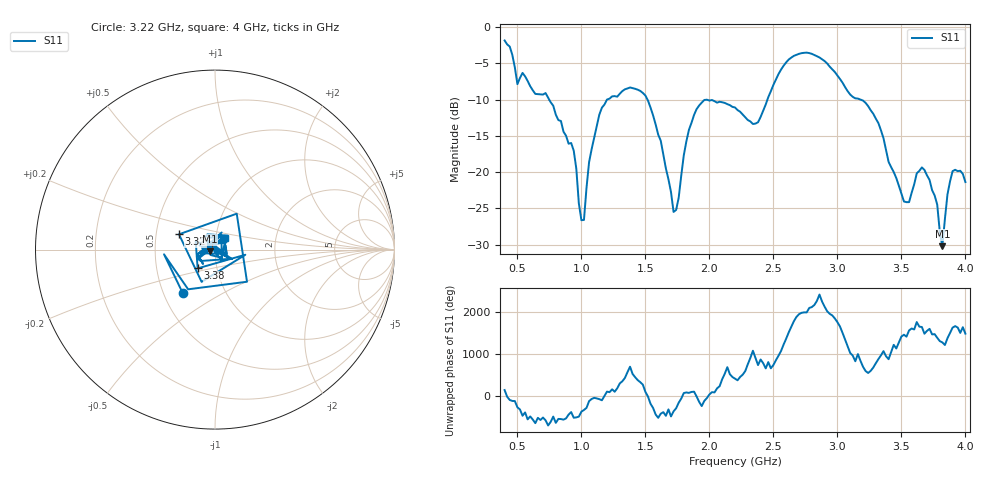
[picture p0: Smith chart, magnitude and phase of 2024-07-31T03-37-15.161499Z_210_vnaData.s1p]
!Created with skrf (http://scikit-rf.org).
# Hz S RI R 50.0
!freq ReS11 ImS11
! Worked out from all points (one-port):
!   181 points, 400 MHz to 4 GHz, reference 50 ohm
!   lowest |S11| = -30.2 dB at 3.82 GHz (marker M1), VSWR 1.06, Z = 47.2 - j0.985 ohm
!   |S11| at or under -10 dB: 748.3 MHz to 1.2 GHz (451.6 MHz wide, 46.4 % of centre); 1.516 GHz to 2.453 GHz (937.3 MHz wide, 47.2 % of centre); 3.181 GHz to end of sweep
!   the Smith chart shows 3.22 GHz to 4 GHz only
!   S11 on the Smith chart (normalised r, x): 3.22 GHz: 0.63, -0.33; 3.32 GHz: 0.66, +0.12; 3.38 GHz: 0.81, -0.17; 4 GHz: 1.11, +0.15
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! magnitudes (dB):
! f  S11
! 400 MHz  -1.9
! 500 MHz  -7.9
! 720 MHz  -9.1
! 860 MHz  -14.4
! 940 MHz  -17.0
! 1.02 GHz  -26.6
! 1.06 GHz  -18.6
! 1.14 GHz  -12.1
! 1.3 GHz  -9.2
! 1.5 GHz  -9.4
! 1.62 GHz  -15.7
! 1.72 GHz  -25.5
! 1.76 GHz  -23.5
! 1.82 GHz  -15.8
! 1.9 GHz  -11.3
! 2.2 GHz  -11.1
! 2.38 GHz  -13.1
! 2.66 GHz  -4.0
! 3.1 GHz  -9.3
! 3.22 GHz  -10.5
! 3.32 GHz  -13.2
! 3.38 GHz  -16.9
! 3.56 GHz  -24.1
! 3.68 GHz  -19.7
! 3.78 GHz  -24.5
! 3.82 GHz  -30.2
! 3.9 GHz  -19.9
! 4 GHz  -21.4
